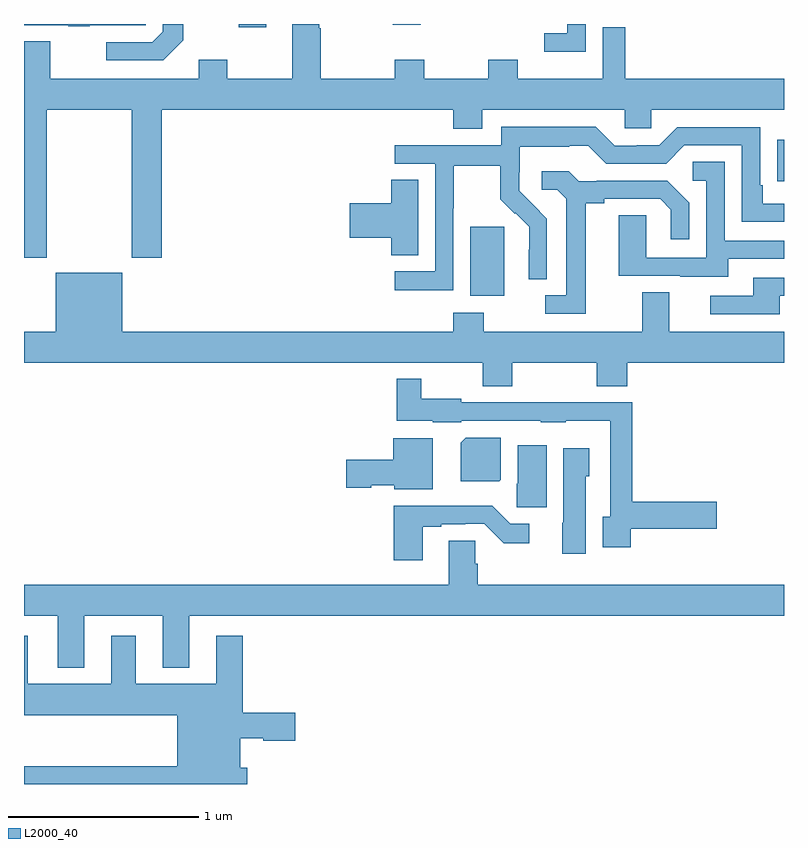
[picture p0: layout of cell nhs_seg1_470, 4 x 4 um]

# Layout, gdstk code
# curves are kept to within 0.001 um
import gdstk
lib = gdstk.Library(unit=1e-6, precision=1e-09)
def R(c, l, rs):  # rectangles x0, y0, x1, y1
    for r in rs: c.add(gdstk.rectangle(r[:2], r[2:], *l))
def P(c, l, *ps):  # polygons
    for p in ps: c.add(gdstk.Polygon(p, *l))
L2000_40 = (2000, 40)

nhs_seg1_470 = lib.new_cell('nhs_seg1_470')
R(nhs_seg1_470, L2000_40, [(139.349,534.77,139.528,535.131), (140.965,535.372,141,535.591), (138.129,536.181,138.276,536.199), (138.941,536.195,139.087,536.199)])
P(nhs_seg1_470, L2000_40, [(137.839,536.113),(137.839,536.199),(137.73,536.199),(137.73,536.157),(137.676,536.103),(137.433,536.103),(137.433,536.007),(137.733,536.007)],
  [(139.259,535.649),(139.411,535.649),(139.411,535.748),(140.163,535.748),(140.163,535.65),(140.301,535.65),(140.301,535.748),(141,535.748),(141,535.912),(140.164,535.912),(140.164,536.183),(140.045,536.183),(140.045,535.912),(139.599,535.912),(139.599,536.011),(139.444,536.011),(139.444,535.912),(139.107,535.912),(139.107,536.011),(138.952,536.011),(138.952,535.912),(138.561,535.912),(138.561,536.177),(138.553,536.177),(138.553,536.199),(138.413,536.199),(138.413,535.912),(138.069,535.912),(138.069,536.011),(137.921,536.011),(137.921,535.912),(137.137,535.912),(137.137,536.107),(137,536.107),(137,534.969),(137.121,534.969),(137.121,535.748),(137.566,535.748),(137.566,534.969),(137.726,534.969),(137.726,535.748),(139.259,535.748)],
  [(137.345,536.193),(137.64,536.193),(137.64,536.199),(137,536.199),(137,536.193),(137.233,536.193),(137.233,536.188),(137.345,536.188)],
  [(139.956,536.199),(139.86,536.199),(139.86,536.151),(139.737,536.151),(139.737,536.054),(139.956,536.054)],
  [(139.26,535.228),(139.263,535.228),(139.263,535.452),(139.507,535.452),(139.507,535.277),(139.584,535.2),(139.587,535.203),(139.658,535.133),(139.658,535.01),(139.656,535.01),(139.656,534.856),(139.752,534.856),(139.752,535.174),(139.606,535.322),(139.606,535.419),(139.608,535.419),(139.608,535.553),(139.871,535.553),(139.871,535.557),(139.971,535.557),(140.064,535.464),(140.379,535.464),(140.475,535.56),(140.778,535.56),(140.778,535.158),(141,535.158),(141,535.254),(140.887,535.254),(140.887,535.351),(140.874,535.351),(140.874,535.656),(140.439,535.656),(140.343,535.56),(140.225,535.56),(140.225,535.557),(140.109,535.557),(140.009,535.657),(139.512,535.657),(139.512,535.56),(138.951,535.56),(138.951,535.464),(139.164,535.464),(139.164,534.897),(138.951,534.897),(138.951,534.799),(139.26,534.799)],
  [(140.707,534.963),(141,534.963),(141,535.059),(140.688,535.059),(140.688,535.475),(140.52,535.475),(140.52,535.374),(140.592,535.374),(140.592,534.969),(140.274,534.969),(140.274,535.193),(140.129,535.193),(140.129,534.873),(140.453,534.873),(140.453,534.869),(140.707,534.869)],
  [(139.957,535.256),(140.053,535.256),(140.053,535.278),(140.348,535.278),(140.405,535.221),(140.405,535.065),(140.502,535.065),(140.502,535.258),(140.386,535.374),(140.014,535.374),(140.014,535.371),(139.92,535.371),(139.868,535.423),(139.725,535.423),(139.725,535.326),(139.806,535.326),(139.853,535.279),(139.853,534.771),(139.743,534.771),(139.743,534.675),(139.957,534.675)],
  [(139.075,535.379),(138.932,535.379),(138.932,535.256),(138.714,535.256),(138.714,535.073),(138.932,535.073),(138.932,534.982),(139.075,534.982)],
  [(139.569,534.416),(140.014,534.416),(140.014,534.292),(140.174,534.292),(140.174,534.416),(141,534.416),(141,534.58),(140.395,534.58),(140.395,534.788),(140.255,534.788),(140.255,534.58),(139.419,534.58),(139.419,534.679),(139.259,534.679),(139.259,534.58),(137.518,534.58),(137.518,534.889),(137.168,534.889),(137.168,534.58),(137,534.58),(137,534.416),(139.414,534.416),(139.414,534.292),(139.569,534.292)],
  [(140.977,534.768),(141,534.768),(141,534.864),(140.837,534.864),(140.837,534.768),(140.613,534.768),(140.613,534.672),(140.977,534.672)],
  [(140.194,533.542),(140.647,533.542),(140.647,533.684),(140.201,533.684),(140.201,534.207),(139.951,534.207),(139.951,534.209),(139.719,534.209),(139.719,534.207),(139.302,534.207),(139.302,534.226),(139.09,534.226),(139.09,534.331),(138.961,534.331),(138.961,534.11),(139.152,534.11),(139.152,534.104),(139.302,534.104),(139.302,534.111),(139.719,534.111),(139.719,534.104),(139.851,534.104),(139.851,534.11),(140.085,534.11),(140.085,533.606),(140.045,533.606),(140.045,533.445),(140.194,533.445)],
  [(139.51,533.8),(139.51,534.022),(139.324,534.022),(139.298,533.996),(139.298,533.792),(139.502,533.792)],
  [(139.15,534.02),(138.944,534.02),(138.944,533.906),(138.696,533.906),(138.696,533.759),(138.828,533.759),(138.828,533.771),(138.948,533.771),(138.948,533.75),(139.15,533.75)],
  [(139.75,533.983),(139.598,533.983),(139.598,533.778),(139.594,533.778),(139.594,533.655),(139.75,533.655)],
  [(139.957,533.82),(139.975,533.82),(139.975,533.965),(139.838,533.965),(139.838,533.574),(139.832,533.574),(139.832,533.412),(139.957,533.412)],
  [(139.099,533.553),(139.195,533.553),(139.195,533.565),(139.322,533.565),(139.322,533.568),(139.422,533.568),(139.525,533.466),(139.66,533.466),(139.66,533.568),(139.56,533.568),(139.465,533.663),(138.947,533.663),(138.947,533.376),(139.099,533.376)],
  [(137.317,533.084),(137.729,533.084),(137.729,532.811),(137.869,532.811),(137.869,533.084),(141,533.084),(141,533.248),(139.388,533.248),(139.388,533.358),(139.374,533.358),(139.374,533.48),(139.235,533.48),(139.235,533.248),(137,533.248),(137,533.084),(137.177,533.084),(137.177,532.811),(137.317,532.811)],
  [(138.176,532.284),(138.139,532.284),(138.139,532.439),(138.259,532.439),(138.259,532.427),(138.427,532.427),(138.427,532.574),(138.152,532.574),(138.152,532.978),(138.011,532.978),(138.011,532.726),(137.587,532.726),(137.587,532.978),(137.459,532.978),(137.459,532.726),(137.02,532.726),(137.02,532.978),(137,532.978),(137,532.562),(137.807,532.562),(137.807,532.292),(137,532.292),(137,532.199),(138.176,532.199)])

lib.write_gds('nhs_seg1_470.gds')
